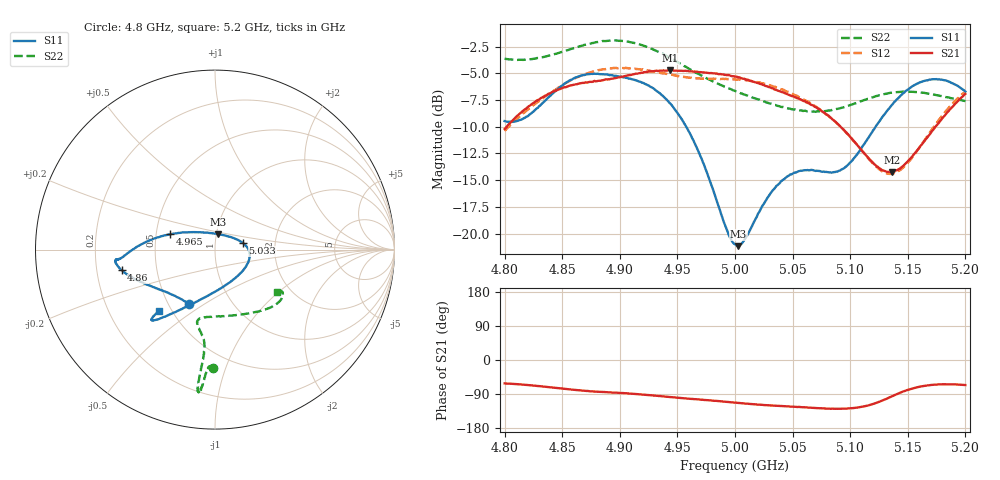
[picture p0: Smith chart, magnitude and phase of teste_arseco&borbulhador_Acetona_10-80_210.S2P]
! Network Analyzer HP8722D
! Hewlett-Packard
! Data name: Linha & Wilkinson
! Saver's name: Rodrigo Anjos
! Comments: Teste da utilização de aquisição
! continua pelo VNA HP8722D
! Time and date: 17/4/2025 16:06
!  Frequency  S11  S21  S12  S22
# HZ  S  MA R 50
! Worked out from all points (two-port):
!   401 points, 4.8 GHz to 5.2 GHz, reference 50 ohm
!   highest |S21| = -4.72 dB at 4.944 GHz (marker M1); lowest = -14.2 dB at 5.136 GHz (marker M2)
!   |S21| within 3 dB of the highest: 4.826 GHz to 5.062 GHz (236.2 MHz wide, 4.78 % of centre); 5.192388 GHz to end of sweep
!   lowest |S11| = -21.2 dB at 5.003 GHz (marker M3), VSWR 1.19, Z = 51.1 + j8.8 ohm
!   |S11| at or under -10 dB: 4.958 GHz to 5.122 GHz (164.4 MHz wide, 3.26 % of centre)
!   |S22| runs from -8.6 to -1.9 dB; largest |S21 - S12| = 0.87
!   S11 on the Smith chart (normalised r, x): 4.8 GHz: 0.63, -0.43; 4.86 GHz: 0.31, -0.10; 4.965 GHz: 0.59, +0.11; 5.033 GHz: 1.36, +0.10; 5.2 GHz: 0.43, -0.37
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4.8e9  0.3361 -115.9  0.3087 -61.9  0.3025 -176.0  0.6574 -91.0
4.819e9  0.3528 -136.1  0.3865 -65.8  0.3757 -175.4  0.6529 -92.7
4.86e9  0.5327 -167.5  0.4971 -78.6  0.5292 -178.6  0.7369 -95.0
4.867e9  0.5488 -170.3  0.506 -80.7  0.5486 -179.9  0.7566 -95.3
4.899e9  0.5428 -174.3  0.538 -86.8  0.5954 173.7  0.7971 -96.6
4.934e9  0.4566 179.8  0.5771 -95.1  0.5684 170.5  0.7058 -96.9
4.944e9  0.4051 175.3  0.5807 -97.9  0.5532 170.7  0.6632 -96.6
4.965e9  0.2652 161.3  0.5736 -103.4  0.5326 172.5  0.5702 -96.2
4.993e9  0.1041 114.8  0.5512 -110.5  0.5278 174.6  0.4832 -98.6
5e9  0.08925 89.7  0.5424 -112.5  0.5279 174.8  0.465 -100.0
5.003e9  0.08739 77.7  0.5382 -113.4  0.5269 174.6  0.4578 -100.8
5.033e9  0.1601 13.5  0.478 -120.0  0.4879 173.4  0.4021 -103.4
5.05e9  0.1908 -2.9  0.4394 -123.1  0.4495 172.9  0.3816 -98.7
5.067e9  0.1984 -21.3  0.3993 -126.1  0.4033 172.6  0.3722 -88.9
5.085e9  0.1935 -50.0  0.3407 -128.6  0.3412 173.0  0.3799 -75.3
5.096e9  0.2053 -71.9  0.2989 -128.3  0.2994 174.6  0.3928 -66.4
5.121e9  0.3096 -110.0  0.211 -114.9  0.2094 -169.8  0.4372 -49.6
5.134e9  0.3863 -120.1  0.1944 -98.8  0.1903 -151.8  0.4546 -43.2
5.136e9  0.3986 -121.2  0.1943 -96.2  0.1903 -148.8  0.4559 -42.3
5.148e9  0.4636 -126.6  0.2125 -81.1  0.2086 -131.1  0.4616 -37.9
5.17e9  0.5258 -131.5  0.296 -66.0  0.3015 -112.3  0.4499 -32.8
5.2e9  0.4616 -132.6  0.4503 -66.1  0.4623 -108.3  0.4165 -34.6
